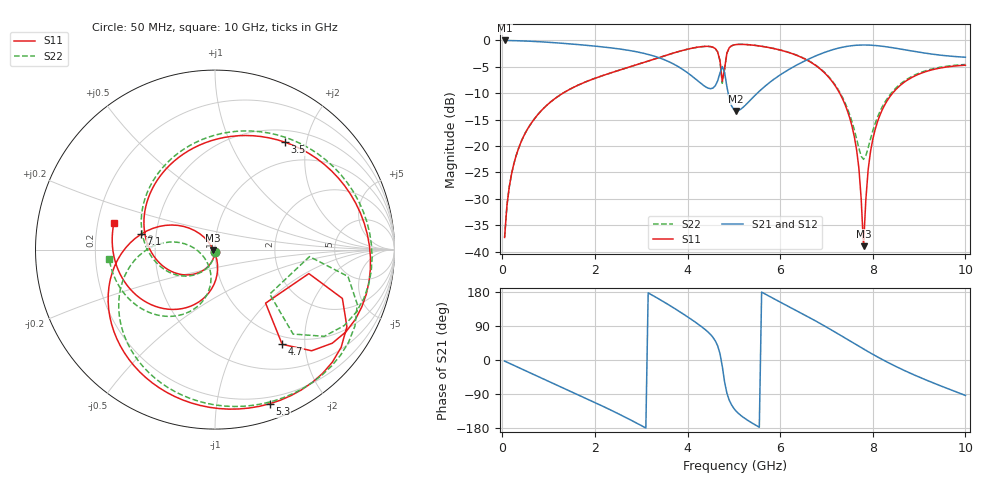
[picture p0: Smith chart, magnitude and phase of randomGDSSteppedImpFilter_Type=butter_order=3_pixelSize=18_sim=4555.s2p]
! freq	dB(S11)	phase(S11)	dB(S12)	phase(S12)
!  dB(S21)	phase(S21)	dB(S22)	phase(S22)
!S-par simulation data
#  GHz  S  DB  R 50
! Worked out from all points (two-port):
!   200 points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, 50 MHz to 10 GHz, reference 50 ohm
!   highest |S21| = -0.01 dB at 50 MHz (marker M1); lowest = -13.3 dB at 5.05 GHz (marker M2)
!   |S21| within 3 dB of the highest: start of sweep to 3.291 GHz; 6.748 GHz to 9.711 GHz (2.963 GHz wide, 36 % of centre)
!   lowest |S11| = -39.0 dB at 7.8 GHz (marker M3), VSWR 1.02, Z = 49 - j0.48 ohm
!   |S11| at or under -10 dB: start of sweep to 1.308 GHz; 7.285 GHz to 8.428 GHz (1.143 GHz wide, 14.5 % of centre)
!   |S22| runs from -37.3 to -0.7 dB; largest |S21 - S12| = 0
!   S11 on the Smith chart (normalised r, x): 50 MHz: 1.00, -0.03; 3.5 GHz: 0.67, +1.64; 4.7 GHz: 0.87, -1.58; 5.3 GHz: 0.14, -1.41; 7.1 GHz: 0.41, +0.09; 10 GHz: 0.27, +0.12
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0.05  -37.30 -93.0  -0.01 -2.9  -0.01 -2.9  -37.30 -92.8
0.2  -25.28 -101.8  -0.03 -11.4  -0.03 -11.4  -25.28 -101.3
0.5  -17.47 -119.8  -0.12 -28.3  -0.12 -28.3  -17.46 -118.4
1.75  -8.03 168.7  -0.87 -98.0  -0.87 -98.0  -8.03 173.7
2.65  -5.30 114.7  -1.77 -150.6  -1.77 -150.6  -5.30 122.1
3.4  -3.21 64.2  -3.33 159.7  -3.33 159.7  -3.21 72.9
3.5  -2.92 56.9  -3.66 152.5  -3.66 152.5  -2.93 65.6
4.3  -1.18 -7.2  -8.22 88.2  -8.22 88.2  -1.18 1.4
4.7  -3.78 -54.7  -6.19 17.3  -6.19 17.3  -3.86 -47.2
4.8  -5.36 -14.3  -6.05 -57.6  -6.05 -57.6  -5.55 -4.2
5.05  -0.78 -49.1  -13.34 -134.9  -13.34 -134.9  -0.78 -40.2
5.3  -0.80 -70.5  -11.81 -159.2  -11.81 -159.2  -0.80 -61.6
6.05  -1.94 -121.7  -6.25 149.8  -6.25 149.8  -1.91 -111.8
6.7  -4.34 -164.1  -3.19 107.5  -3.19 107.5  -4.29 -151.5
7.1  -7.52 168.2  -1.85 79.8  -1.85 79.8  -7.40 -175.2
7.6  -18.16 134.0  -0.95 43.5  -0.95 43.5  -16.90 171.2
7.7  -24.19 130.4  -0.89 36.2  -0.89 36.2  -20.40 -175.8
7.8  -38.96 -154.2  -0.87 29.1  -0.87 29.1  -22.53 -142.8
7.95  -21.11 -80.7  -0.90 18.5  -0.90 18.5  -18.68 -103.9
8.35  -10.90 -104.1  -1.28 -7.9  -1.28 -7.9  -10.53 -103.6
9.1  -6.04 -147.5  -2.37 -50.2  -2.37 -50.2  -5.87 -136.8
10  -4.69 165.5  -3.18 -93.5  -3.18 -93.5  -4.56 -174.8
